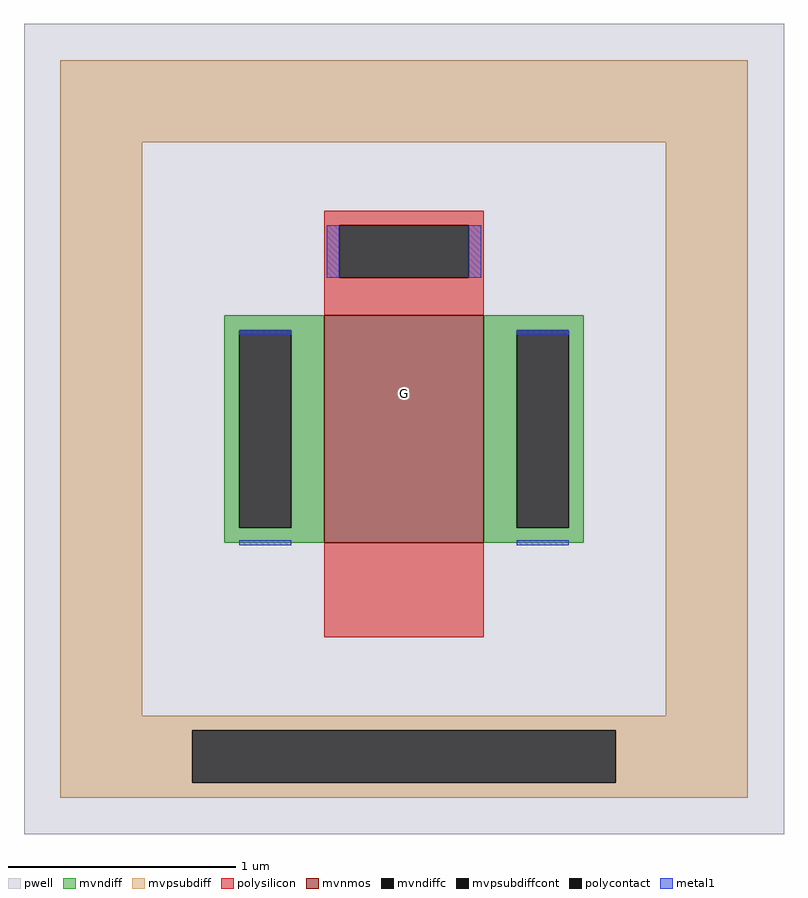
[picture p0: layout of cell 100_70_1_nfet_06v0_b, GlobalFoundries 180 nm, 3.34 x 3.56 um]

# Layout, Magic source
magic
tech gf180mcuD
magscale 1 10
<< pwell >>
rect -334 -356 334 356
<< mvnmos >>
rect -70 -100 70 100
<< mvndiff >>
rect -158 87 -70 100
rect -158 -87 -145 87
rect -99 -87 -70 87
rect -158 -100 -70 -87
rect 70 87 158 100
rect 70 -87 99 87
rect 145 -87 158 87
rect 70 -100 158 -87
<< mvndiffc >>
rect -145 -87 -99 87
rect 99 -87 145 87
<< mvpsubdiff >>
rect -302 252 302 324
rect -302 -252 -230 252
rect 230 -252 302 252
rect -302 -265 302 -252
rect -302 -311 -186 -265
rect 186 -311 302 -265
rect -302 -324 302 -311
<< mvpsubdiffcont >>
rect -186 -311 186 -265
<< polysilicon >>
rect -70 179 70 192
rect -70 133 -57 179
rect 57 133 70 179
rect -70 100 70 133
rect -70 -183 70 -100
<< polycontact >>
rect -57 133 57 179
<< metal1 >>
rect -68 133 -57 179
rect 57 133 68 179
rect -145 87 -99 83
rect -145 -98 -99 -102
rect 99 87 145 83
rect 99 -98 145 -102
<< labels >>
flabel metal1 0 31 0 31 0 FreeSans 240 0 0 0 G
<< properties >>
string FIXED_BBOX -266 -288 266 288
<< end >>
